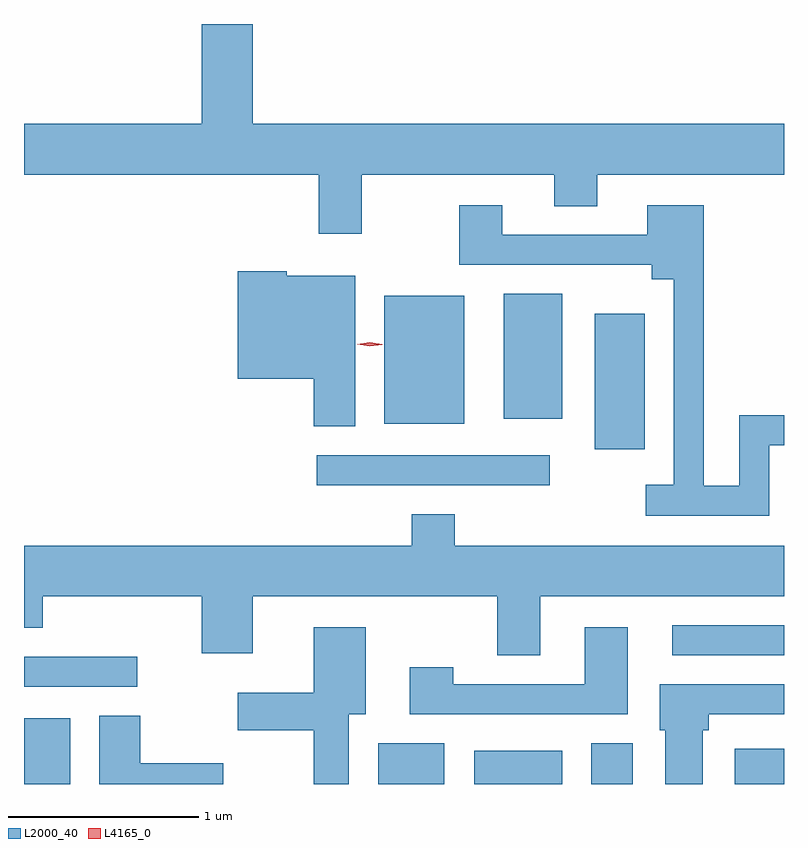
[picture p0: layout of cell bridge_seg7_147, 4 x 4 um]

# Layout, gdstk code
import gdstk
lib = gdstk.Library(unit=1e-6, precision=1e-09)
def R(c, l, rs):  # rectangles x0, y0, x1, y1
    for r in rs: c.add(gdstk.rectangle(r[:2], r[2:], *l))
def P(c, l, *ps):  # polygons
    for p in ps: c.add(gdstk.Polygon(p, *l))
L2000_40 = (2000, 40)
L4165_0 = (4165, 0)

bridge_seg7_147 = lib.new_cell('bridge_seg7_147')
R(bridge_seg7_147, L2000_40, [(1472.881,1671.149,1473.124,1671.494), (1474.746,1671.149,1475.094,1671.364), (1475.251,1671.149,1475.714,1671.324), (1475.866,1671.149,1476.084,1671.364), (1476.621,1671.149,1476.881,1671.334), (1472.881,1671.661,1473.478,1671.819), (1476.293,1671.826,1476.881,1671.984), (1474.423,1672.721,1475.648,1672.879), (1475.886,1672.911,1476.149,1673.624), (1474.776,1673.046,1475.199,1673.719), (1475.406,1673.071,1475.714,1673.729)])
P(bridge_seg7_147, L2000_40, [(1474.659,1674.356),(1475.671,1674.356),(1475.671,1674.191),(1475.899,1674.191),(1475.899,1674.356),(1476.881,1674.356),(1476.881,1674.624),(1474.084,1674.624),(1474.084,1675.149),(1473.816,1675.149),(1473.816,1674.624),(1472.881,1674.624),(1472.881,1674.356),(1474.431,1674.356),(1474.431,1674.046),(1474.659,1674.046)],
  [(1476.804,1672.931),(1476.881,1672.931),(1476.881,1673.089),(1476.646,1673.089),(1476.646,1672.719),(1476.459,1672.719),(1476.459,1674.194),(1476.161,1674.194),(1476.161,1674.039),(1475.399,1674.039),(1475.399,1674.194),(1475.171,1674.194),(1475.171,1673.881),(1476.186,1673.881),(1476.186,1673.806),(1476.301,1673.806),(1476.301,1672.724),(1476.153,1672.724),(1476.153,1672.561),(1476.804,1672.561)],
  [(1474.624,1673.824),(1474.264,1673.824),(1474.264,1673.849),(1474.006,1673.849),(1474.006,1673.281),(1474.406,1673.281),(1474.406,1673.031),(1474.624,1673.031)],
  [(1475.599,1672.136),(1476.881,1672.136),(1476.881,1672.404),(1475.149,1672.404),(1475.149,1672.569),(1474.921,1672.569),(1474.921,1672.404),(1472.881,1672.404),(1472.881,1671.971),(1472.979,1671.971),(1472.979,1672.136),(1473.816,1672.136),(1473.816,1671.836),(1474.084,1671.836),(1474.084,1672.136),(1475.371,1672.136),(1475.371,1671.826),(1475.599,1671.826)],
  [(1476.059,1671.974),(1475.831,1671.974),(1475.831,1671.674),(1475.139,1671.674),(1475.139,1671.764),(1474.911,1671.764),(1474.911,1671.516),(1476.059,1671.516)],
  [(1474.589,1671.516),(1474.679,1671.516),(1474.679,1671.974),(1474.406,1671.974),(1474.406,1671.629),(1474.006,1671.629),(1474.006,1671.431),(1474.406,1671.431),(1474.406,1671.149),(1474.589,1671.149)],
  [(1476.454,1671.431),(1476.484,1671.431),(1476.484,1671.516),(1476.881,1671.516),(1476.881,1671.674),(1476.226,1671.674),(1476.226,1671.431),(1476.256,1671.431),(1476.256,1671.149),(1476.454,1671.149)],
  [(1473.929,1671.259),(1473.494,1671.259),(1473.494,1671.509),(1473.276,1671.509),(1473.276,1671.149),(1473.929,1671.149)])
P(bridge_seg7_147, L4165_0, [(1474.7,1673.454),(1474.634,1673.463),(1474.634,1673.464),(1474.634,1673.464),(1474.7,1673.473),(1474.766,1673.463),(1474.766,1673.463),(1474.766,1673.462)])

lib.write_gds('bridge_seg7_147.gds')
